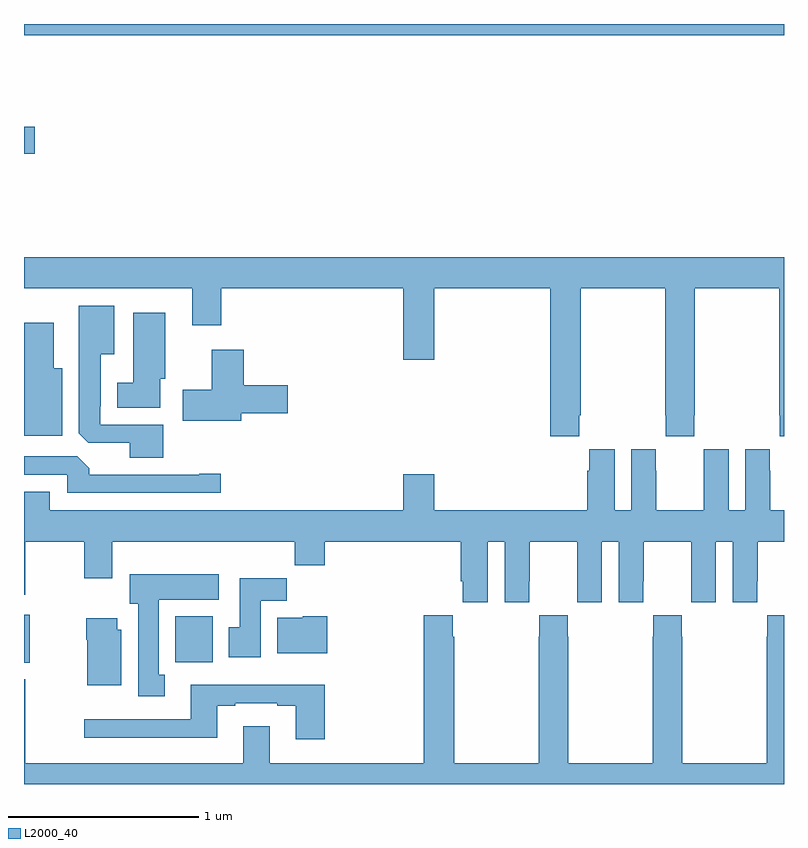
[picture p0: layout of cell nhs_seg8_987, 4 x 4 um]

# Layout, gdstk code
import gdstk
lib = gdstk.Library(unit=1e-6, precision=1e-09)
def R(c, l, rs):  # rectangles x0, y0, x1, y1
    for r in rs: c.add(gdstk.rectangle(r[:2], r[2:], *l))
def P(c, l, *ps):  # polygons
    for p in ps: c.add(gdstk.Polygon(p, *l))
L2000_40 = (2000, 40)

nhs_seg8_987 = lib.new_cell('nhs_seg8_987')
R(nhs_seg8_987, L2000_40, [(175,1106.537,175.03,1106.791), (175.796,1106.54,175.993,1106.782), (175,1109.216,175.057,1109.358), (175,1109.84,179,1109.9)])
P(nhs_seg8_987, L2000_40, [(177.923,1107.841),(177.93,1107.841),(177.93,1108.508),(178.375,1108.508),(178.375,1107.841),(178.377,1107.841),(178.377,1107.729),(178.527,1107.729),(178.527,1107.841),(178.53,1107.841),(178.53,1108.508),(178.975,1108.508),(178.975,1107.841),(178.977,1107.841),(178.977,1107.729),(179,1107.729),(179,1108.672),(175,1108.672),(175,1108.508),(175.886,1108.508),(175.886,1108.314),(176.039,1108.314),(176.039,1108.508),(176.996,1108.508),(176.996,1108.134),(177.16,1108.134),(177.16,1108.508),(177.77,1108.508),(177.77,1107.729),(177.923,1107.729)],
  [(175.732,1107.792),(175.401,1107.792),(175.401,1107.889),(175.405,1107.889),(175.405,1108.163),(175.474,1108.163),(175.474,1108.417),(175.289,1108.417),(175.289,1107.745),(175.338,1107.696),(175.556,1107.696),(175.556,1107.617),(175.732,1107.617)],
  [(175.717,1108.032),(175.744,1108.032),(175.744,1108.381),(175.574,1108.381),(175.574,1108.012),(175.49,1108.012),(175.49,1107.881),(175.717,1107.881)],
  [(175.201,1108.087),(175.156,1108.087),(175.156,1108.327),(175,1108.327),(175,1107.734),(175.201,1107.734)],
  [(176.143,1107.851),(176.389,1107.851),(176.389,1107.998),(176.156,1107.998),(176.156,1108.186),(175.988,1108.186),(175.988,1107.975),(175.836,1107.975),(175.836,1107.812),(176.143,1107.812)],
  [(177.442,1107.176),(177.53,1107.176),(177.53,1106.856),(177.66,1106.856),(177.66,1106.968),(177.661,1106.968),(177.661,1107.176),(177.911,1107.176),(177.911,1106.968),(177.912,1106.968),(177.912,1106.856),(178.042,1106.856),(178.042,1107.176),(178.13,1107.176),(178.13,1106.856),(178.26,1106.856),(178.26,1106.968),(178.261,1106.968),(178.261,1107.176),(178.511,1107.176),(178.511,1106.968),(178.512,1106.968),(178.512,1106.856),(178.642,1106.856),(178.642,1107.176),(178.73,1107.176),(178.73,1106.856),(178.86,1106.856),(178.86,1106.968),(178.861,1106.968),(178.861,1107.176),(179,1107.176),(179,1107.34),(178.927,1107.34),(178.927,1107.548),(178.926,1107.548),(178.926,1107.661),(178.796,1107.661),(178.796,1107.34),(178.708,1107.34),(178.708,1107.661),(178.578,1107.661),(178.578,1107.548),(178.577,1107.548),(178.577,1107.34),(178.327,1107.34),(178.327,1107.548),(178.326,1107.548),(178.326,1107.661),(178.196,1107.661),(178.196,1107.34),(178.108,1107.34),(178.108,1107.661),(177.974,1107.661),(177.974,1107.548),(177.965,1107.548),(177.965,1107.34),(177.16,1107.34),(177.16,1107.529),(176.996,1107.529),(176.996,1107.34),(175.135,1107.34),(175.135,1107.439),(175,1107.439),(175,1106.895),(175.007,1106.895),(175.007,1107.176),(175.318,1107.176),(175.318,1106.982),(175.465,1106.982),(175.465,1107.176),(176.425,1107.176),(176.425,1107.052),(176.582,1107.052),(176.582,1107.176),(177.299,1107.176),(177.299,1106.968),(177.308,1106.968),(177.308,1106.856),(177.442,1106.856)],
  [(176.035,1107.533),(175.922,1107.533),(175.922,1107.528),(175.343,1107.528),(175.343,1107.562),(175.281,1107.624),(175,1107.624),(175,1107.528),(175.227,1107.528),(175.227,1107.432),(176.035,1107.432)],
  [(175.741,1106.474),(175.708,1106.474),(175.708,1106.87),(176.026,1106.87),(176.026,1107.004),(175.556,1107.004),(175.556,1106.85),(175.601,1106.85),(175.601,1106.361),(175.741,1106.361)],
  [(176.245,1106.864),(176.384,1106.864),(176.384,1106.983),(176.135,1106.983),(176.135,1106.724),(176.078,1106.724),(176.078,1106.568),(176.245,1106.568)],
  [(175,1106.452),(175,1105.9),(179,1105.9),(179,1106.788),(178.911,1106.788),(178.911,1106.675),(178.909,1106.675),(178.909,1106.008),(178.464,1106.008),(178.464,1106.675),(178.461,1106.675),(178.461,1106.788),(178.311,1106.788),(178.311,1106.675),(178.309,1106.675),(178.309,1106.008),(177.864,1106.008),(177.864,1106.675),(177.861,1106.675),(177.861,1106.788),(177.711,1106.788),(177.711,1106.675),(177.709,1106.675),(177.709,1106.008),(177.264,1106.008),(177.264,1106.675),(177.257,1106.675),(177.257,1106.788),(177.104,1106.788),(177.104,1106.008),(176.293,1106.008),(176.293,1106.203),(176.153,1106.203),(176.153,1106.008),(175.007,1106.008),(175.007,1106.452)],
  [(176.597,1106.782),(176.466,1106.782),(176.466,1106.776),(176.333,1106.776),(176.333,1106.588),(176.597,1106.588)],
  [(175.513,1106.712),(175.492,1106.712),(175.492,1106.773),(175.327,1106.773),(175.327,1106.66),(175.334,1106.66),(175.334,1106.42),(175.513,1106.42)],
  [(176.582,1106.422),(175.877,1106.422),(175.877,1106.241),(175.317,1106.241),(175.317,1106.144),(176.017,1106.144),(176.017,1106.313),(176.113,1106.313),(176.113,1106.325),(176.333,1106.325),(176.333,1106.313),(176.429,1106.313),(176.429,1106.136),(176.582,1106.136)])

lib.write_gds('nhs_seg8_987.gds')
